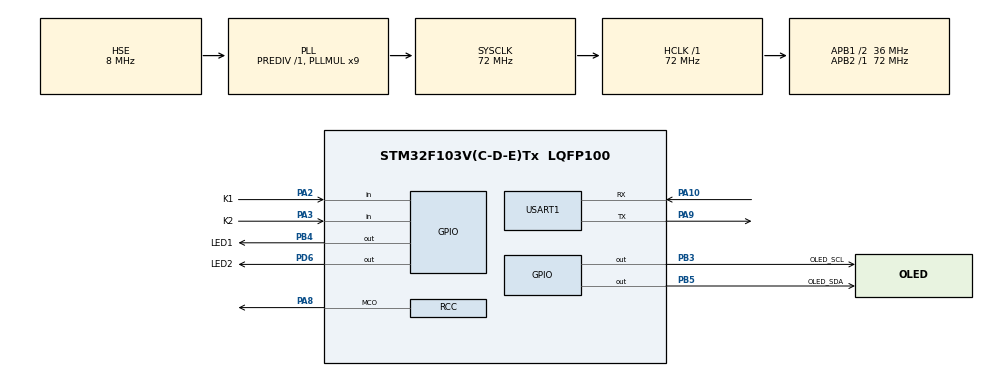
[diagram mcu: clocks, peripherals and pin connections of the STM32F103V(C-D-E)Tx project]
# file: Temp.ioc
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ADC1.Channel-0\#ChannelRegularConversion=ADC_CHANNEL_TEMPSENSOR
ADC1.NbrOfConversionFlag=1
ADC1.Rank-0\#ChannelRegularConversion=1
ADC1.SamplingTime-0\#ChannelRegularConversion=ADC_SAMPLETIME_1CYCLE_5
ADC1.master=1
Mcu.Family=STM32F1
Mcu.Name=STM32F103V(C-D-E)Tx
Mcu.Package=LQFP100
NVIC.PriorityGroup=NVIC_PRIORITYGROUP_4
NVIC.USART1_IRQn=true\:0\:0\:false\:false\:true\:true\:true\:true
OSC_IN.Mode=HSE-External-Oscillator
OSC_IN.Signal=RCC_OSC_IN
OSC_OUT.Mode=HSE-External-Oscillator
OSC_OUT.Signal=RCC_OSC_OUT
PA10.Mode=Asynchronous
PA10.Signal=USART1_RX
PA13.Mode=Serial_Wire
PA13.Signal=SYS_JTMS-SWDIO
PA14.Mode=Serial_Wire
PA14.Signal=SYS_JTCK-SWCLK
PA2.GPIO_Label=K1
PA2.Signal=GPIO_Input
PA3.GPIO_Label=K2
PA3.Signal=GPIO_Input
PA8.Mode=Clock-out
PA8.Signal=RCC_MCO
PA9.Mode=Asynchronous
PA9.Signal=USART1_TX
PB3.GPIO_Label=OLED_SCL
PB3.GPIO_ModeDefaultOutputPP=GPIO_MODE_OUTPUT_PP
PB3.GPIO_PuPd=GPIO_PULLUP
PB3.GPIO_Speed=GPIO_SPEED_FREQ_HIGH
PB3.PinState=GPIO_PIN_SET
PB3.Signal=GPIO_Output
PB4.GPIO_Label=LED1
PB4.GPIO_ModeDefaultOutputPP=GPIO_MODE_OUTPUT_PP
PB4.GPIO_PuPd=GPIO_PULLUP
PB4.GPIO_Speed=GPIO_SPEED_FREQ_HIGH
PB4.PinState=GPIO_PIN_SET
PB4.Signal=GPIO_Output
PB5.GPIO_Label=OLED_SDA
PB5.GPIO_PuPd=GPIO_PULLUP
PB5.GPIO_Speed=GPIO_SPEED_FREQ_HIGH
PB5.PinState=GPIO_PIN_SET
PB5.Signal=GPIO_Output
PC14-OSC32_IN.Mode=LSE-External-Oscillator
PC14-OSC32_IN.Signal=RCC_OSC32_IN
PC15-OSC32_OUT.Mode=LSE-External-Oscillator
PC15-OSC32_OUT.Signal=RCC_OSC32_OUT
PD6.GPIO_Label=LED2
PD6.GPIO_ModeDefaultOutputPP=GPIO_MODE_OUTPUT_PP
PD6.GPIO_PuPd=GPIO_PULLUP
PD6.GPIO_Speed=GPIO_SPEED_FREQ_HIGH
PD6.PinState=GPIO_PIN_SET
PD6.Signal=GPIO_Output
ProjectManager.HeapSize=0x1000
ProjectManager.StackSize=0x1000
ProjectManager.TargetToolchain=MDK-ARM V5.32
RCC.ADCPresc=RCC_ADCPCLK2_DIV6
RCC.AHBFreq_Value=72000000
RCC.APB1CLKDivider=RCC_HCLK_DIV2
RCC.APB1Freq_Value=36000000
RCC.APB1TimFreq_Value=72000000
RCC.APB2Freq_Value=72000000
RCC.APB2TimFreq_Value=72000000
RCC.HCLKFreq_Value=72000000
RCC.PLLMUL=RCC_PLL_MUL9
RCC.PLLSourceVirtual=RCC_PLLSOURCE_HSE
RCC.RCC_MCOSource=RCC_MCO1SOURCE_PLLCLK
RCC.SYSCLKFreq_VALUE=72000000
RCC.SYSCLKSource=RCC_SYSCLKSOURCE_PLLCLK
RCC.USBFreq_Value=72000000
USART1.VirtualMode=VM_ASYNC
VP_ADC1_TempSens_Input.Mode=IN-TempSens
board=custom

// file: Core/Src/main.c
/* USER CODE BEGIN Header */
/**
  ******************************************************************************
  * @file           : main.c
  * @brief          : Main program body
  ******************************************************************************
  * @attention
  *
  * Copyright (c) 2025 STMicroelectronics.
  * All rights reserved.
  *
  * This software is licensed under terms that can be found in the LICENSE file
  * in the root directory of this software component.
  * If no LICENSE file comes with this software, it is provided AS-IS.
  *
  ******************************************************************************
  */
/* USER CODE END Header */
#include "main.h"

/* USER CODE BEGIN Includes */
#include "stdio.h"//printf
#include "math.h"
#include "stdlib.h"
#include "bsp_oled.h"
/* USER CODE END Includes */

/* USER CODE BEGIN PTD */
uint8_t rx_buff[100];
uint8_t rx_done = 0;
uint8_t rx_cnt = 0;
uint8_t i;
unsigned char str_temp[]="0";
unsigned char str_temp_b[]="0";
/* USER CODE END PTD */

/* USER CODE BEGIN PM */
u8g2_t u8g2;
/* USER CODE END PM */

ADC_HandleTypeDef hadc1;

UART_HandleTypeDef huart1;

void SystemClock_Config(void);
static void MX_GPIO_Init(void);
static void MX_USART1_UART_Init(void);
static void MX_ADC1_Init(void);

int main(void)
{

  /* MCU Configuration--------------------------------------------------------*/

  /* Reset of all peripherals, Initializes the Flash interface and the Systick. */
  HAL_Init();

  /* Configure the system clock */
  SystemClock_Config();

  /* Initialize all configured peripherals */
  MX_GPIO_Init();
  MX_USART1_UART_Init();
  MX_ADC1_Init();
  /* USER CODE BEGIN 2 */
	OLED_Init();
  /* USER CODE END 2 */

  /* Infinite loop */
  while (1)
  {

    /* USER CODE BEGIN 3 */
		i++;
		if(i>9)i=0;

		str_temp[0] = '0' + i;
		u8g2_SetFont(&u8g2, u8g2_font_inb24_mf);
		u8g2_SetDrawColor(&u8g2, 0); // 设置为背景色，用于擦除旧字符
    u8g2_DrawStr(&u8g2, 100,50,(const char*)str_temp_b);
		u8g2_SetDrawColor(&u8g2, 1);  // 设置为前景色，用于绘制新字符
    u8g2_DrawStr(&u8g2, 100,50,(const char*)str_temp);
		u8g2_SendBuffer(&u8g2);
		str_temp_b[0] = str_temp[0];
		HAL_GPIO_TogglePin(LED2_GPIO_Port,LED2_Pin);
		HAL_Delay(1000);
  }
  /* USER CODE END 3 */
}

void SystemClock_Config(void)
{
  RCC_OscInitTypeDef RCC_OscInitStruct = {0};
  RCC_ClkInitTypeDef RCC_ClkInitStruct = {0};
  RCC_PeriphCLKInitTypeDef PeriphClkInit = {0};

  /** Initializes the RCC Oscillators according to the specified parameters
  * in the RCC_OscInitTypeDef structure.
  */
  RCC_OscInitStruct.OscillatorType = RCC_OSCILLATORTYPE_HSE;
  RCC_OscInitStruct.HSEState = RCC_HSE_ON;
  RCC_OscInitStruct.HSEPredivValue = RCC_HSE_PREDIV_DIV1;
  RCC_OscInitStruct.HSIState = RCC_HSI_ON;
  RCC_OscInitStruct.PLL.PLLState = RCC_PLL_ON;
  RCC_OscInitStruct.PLL.PLLSource = RCC_PLLSOURCE_HSE;
  RCC_OscInitStruct.PLL.PLLMUL = RCC_PLL_MUL9;
  if (HAL_RCC_OscConfig(&RCC_OscInitStruct) != HAL_OK)
  {
    Error_Handler();
  }

  /** Initializes the CPU, AHB and APB buses clocks
  */
  RCC_ClkInitStruct.ClockType = RCC_CLOCKTYPE_HCLK|RCC_CLOCKTYPE_SYSCLK
                              |RCC_CLOCKTYPE_PCLK1|RCC_CLOCKTYPE_PCLK2;
  RCC_ClkInitStruct.SYSCLKSource = RCC_SYSCLKSOURCE_PLLCLK;
  RCC_ClkInitStruct.AHBCLKDivider = RCC_SYSCLK_DIV1;
  RCC_ClkInitStruct.APB1CLKDivider = RCC_HCLK_DIV2;
  RCC_ClkInitStruct.APB2CLKDivider = RCC_HCLK_DIV1;

  if (HAL_RCC_ClockConfig(&RCC_ClkInitStruct, FLASH_LATENCY_2) != HAL_OK)
  {
    Error_Handler();
  }
  PeriphClkInit.PeriphClockSelection = RCC_PERIPHCLK_ADC;
  PeriphClkInit.AdcClockSelection = RCC_ADCPCLK2_DIV6;
  if (HAL_RCCEx_PeriphCLKConfig(&PeriphClkInit) != HAL_OK)
  {
    Error_Handler();
  }
  HAL_RCC_MCOConfig(RCC_MCO, RCC_MCO1SOURCE_PLLCLK, RCC_MCODIV_1);
}

static void MX_ADC1_Init(void)
{

  ADC_ChannelConfTypeDef sConfig = {0};

  /** Common config
  */
  hadc1.Instance = ADC1;
  hadc1.Init.ScanConvMode = ADC_SCAN_DISABLE;
  hadc1.Init.ContinuousConvMode = DISABLE;
  hadc1.Init.DiscontinuousConvMode = DISABLE;
  hadc1.Init.ExternalTrigConv = ADC_SOFTWARE_START;
  hadc1.Init.DataAlign = ADC_DATAALIGN_RIGHT;
  hadc1.Init.NbrOfConversion = 1;
  if (HAL_ADC_Init(&hadc1) != HAL_OK)
  {
    Error_Handler();
  }

  /** Configure Regular Channel
  */
  sConfig.Channel = ADC_CHANNEL_TEMPSENSOR;
  sConfig.Rank = ADC_REGULAR_RANK_1;
  sConfig.SamplingTime = ADC_SAMPLETIME_1CYCLE_5;
  if (HAL_ADC_ConfigChannel(&hadc1, &sConfig) != HAL_OK)
  {
    Error_Handler();
  }

}

static void MX_USART1_UART_Init(void)
{

  huart1.Instance = USART1;
  huart1.Init.BaudRate = 115200;
  huart1.Init.WordLength = UART_WORDLENGTH_8B;
  huart1.Init.StopBits = UART_STOPBITS_1;
  huart1.Init.Parity = UART_PARITY_NONE;
  huart1.Init.Mode = UART_MODE_TX_RX;
  huart1.Init.HwFlowCtl = UART_HWCONTROL_NONE;
  huart1.Init.OverSampling = UART_OVERSAMPLING_16;
  if (HAL_UART_Init(&huart1) != HAL_OK)
  {
    Error_Handler();
  }
  /* USER CODE BEGIN USART1_Init 2 */
  __HAL_UART_ENABLE_IT(&huart1,UART_IT_IDLE|UART_IT_RXNE);
  /* USER CODE END USART1_Init 2 */

}

static void MX_GPIO_Init(void)
{
  GPIO_InitTypeDef GPIO_InitStruct = {0};

  /* GPIO Ports Clock Enable */
  __HAL_RCC_GPIOC_CLK_ENABLE();
  __HAL_RCC_GPIOA_CLK_ENABLE();
  __HAL_RCC_GPIOD_CLK_ENABLE();
  __HAL_RCC_GPIOB_CLK_ENABLE();

  /*Configure GPIO pin Output Level */
  HAL_GPIO_WritePin(LED2_GPIO_Port, LED2_Pin, GPIO_PIN_SET);

  /*Configure GPIO pin Output Level */
  HAL_GPIO_WritePin(GPIOB, OLED_SCL_Pin|LED1_Pin|OLED_SDA_Pin, GPIO_PIN_SET);

  /*Configure GPIO pins : K1_Pin K2_Pin */
  GPIO_InitStruct.Pin = K1_Pin|K2_Pin;
  GPIO_InitStruct.Mode = GPIO_MODE_INPUT;
  GPIO_InitStruct.Pull = GPIO_NOPULL;
  HAL_GPIO_Init(GPIOA, &GPIO_InitStruct);

  /*Configure GPIO pin : PA8 */
  GPIO_InitStruct.Pin = GPIO_PIN_8;
  GPIO_InitStruct.Mode = GPIO_MODE_AF_PP;
  GPIO_InitStruct.Speed = GPIO_SPEED_FREQ_LOW;
  HAL_GPIO_Init(GPIOA, &GPIO_InitStruct);

  /*Configure GPIO pin : LED2_Pin */
  GPIO_InitStruct.Pin = LED2_Pin;
  GPIO_InitStruct.Mode = GPIO_MODE_OUTPUT_PP;
  GPIO_InitStruct.Pull = GPIO_PULLUP;
  GPIO_InitStruct.Speed = GPIO_SPEED_FREQ_HIGH;
  HAL_GPIO_Init(LED2_GPIO_Port, &GPIO_InitStruct);

  /*Configure GPIO pins : OLED_SCL_Pin LED1_Pin OLED_SDA_Pin */
  GPIO_InitStruct.Pin = OLED_SCL_Pin|LED1_Pin|OLED_SDA_Pin;
  GPIO_InitStruct.Mode = GPIO_MODE_OUTPUT_PP;
  GPIO_InitStruct.Pull = GPIO_PULLUP;
  GPIO_InitStruct.Speed = GPIO_SPEED_FREQ_HIGH;
  HAL_GPIO_Init(GPIOB, &GPIO_InitStruct);

}

/* USER CODE BEGIN 4 */
#ifdef __GNUC__
#define PUTCHAR_PROTOTYPE int __io_putchar(int ch)
#else
#define PUTCHAR_PROTOTYPE int fputc(int ch,FILE *f)
#endif /* __GNUC__ */

PUTCHAR_PROTOTYPE
{
    HAL_UART_Transmit(&huart1,(uint8_t *)&ch,1,HAL_MAX_DELAY);
    return ch;
}

/* USER CODE END 4 */

void Error_Handler(void)
{
  __disable_irq();
  while (1)
  {
  }
}
